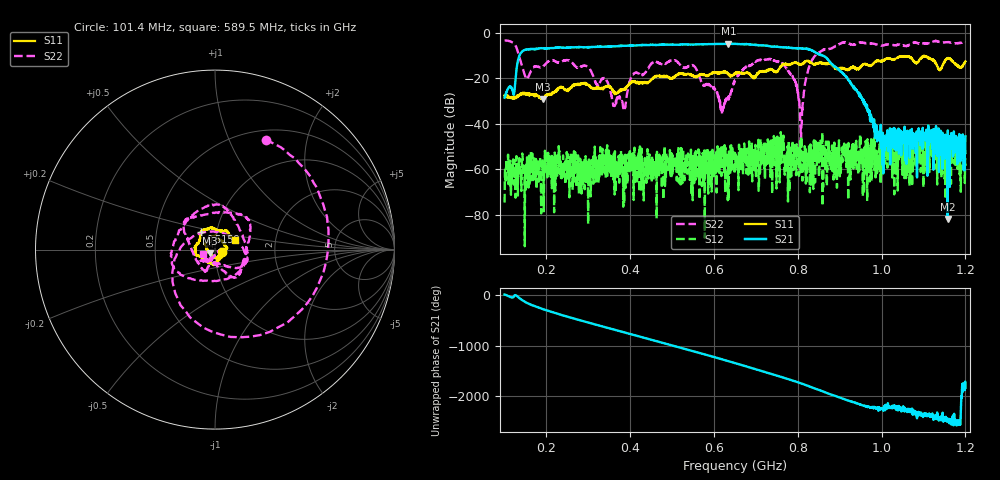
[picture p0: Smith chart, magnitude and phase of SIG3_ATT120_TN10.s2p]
# Hz S DB R 50
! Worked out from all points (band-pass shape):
!   1601 points, 100 MHz to 1.2 GHz, reference 50 ohm
!   highest |S21| = -4.81 dB at 634.2 MHz (marker M1); lowest = -81.8 dB at 1.157 GHz (marker M2)
!   |S21| within 3 dB of the highest: 145 MHz to 834.2 MHz (689.2 MHz wide, 141 % of centre)
!   lowest |S11| = -29.1 dB at 191.4 MHz (marker M3), VSWR 1.07, Z = 47.1 - j1.89 ohm
!   |S11| at or under -10 dB: start of sweep to end of sweep
!   |S22| runs from -49.5 to -3.4 dB; largest |S21 - S12| = 0.58
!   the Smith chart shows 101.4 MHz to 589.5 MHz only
!   S11 on the Smith chart (normalised r, x): 101.4 MHz: 1.08, -0.03; 515.9 MHz: 0.84, +0.17; 589.5 MHz: 1.24, +0.14
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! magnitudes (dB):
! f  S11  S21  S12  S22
! 100 MHz  -27.6  -28.5  -74.6  -3.4
! 101.4 MHz  -27.5  -27.7  -59.6  -3.4
! 121.3 MHz  -28.1  -27.0  -56.8  -4.5
! 140.6 MHz  -26.7  -8.5  -60.6  -14.1
! 191.4 MHz  -29.1  -6.8  -61.1  -14.9
! 283.6 MHz  -22.5  -6.3  -70.6  -14.9
! 383.9 MHz  -24.8  -5.8  -61.3  -33.2
! 406.6 MHz  -21.4  -5.6  -57.8  -18.3
! 467.1 MHz  -19.1  -5.3  -56.8  -13.1
! 515.9 MHz  -17.9  -5.3  -65.8  -13.5
! 589.5 MHz  -18.3  -5.0  -55.3  -23.0
! 619.1 MHz  -17.3  -4.9  -54.9  -35.7
! 634.2 MHz  -18.3  -4.8  -53.5  -28.0
! 650 MHz  -18.0  -4.9  -52.8  -20.8
! 759.3 MHz  -15.0  -6.3  -43.6  -13.0
! 792.3 MHz  -13.1  -6.8  -52.2  -20.9
! 807.4 MHz  -14.0  -6.9  -56.6  -49.5
! 833.6 MHz  -13.4  -7.8  -54.8  -12.1
! 913.3 MHz  -16.1  -18.9  -55.1  -4.1
! 1.017 GHz  -11.3  -45.3  -49.7  -5.1
! 1.157 GHz  -11.1  -81.8  -45.8  -4.1
! 1.2 GHz  -12.6  -45.5  -58.5  -4.0
